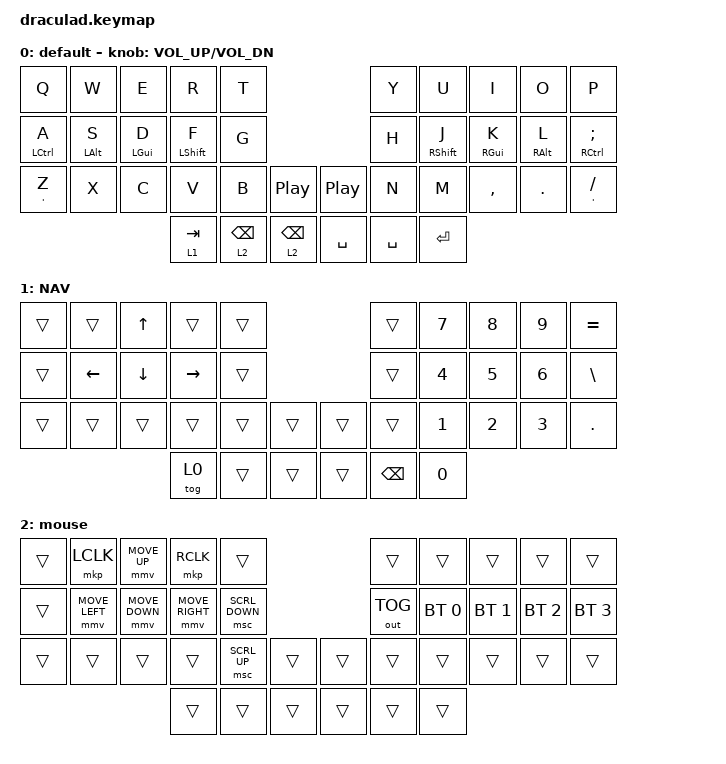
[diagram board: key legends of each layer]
/*
 * Copyright (c) 2020 The ZMK Contributors
 *
 * SPDX-License-Identifier: MIT
 */
/*
#undef ZMK_BEHAVIORS_KEEP_ALL   //ZMK STUDIO

#define ZMK_BEHAVIORS_KEEP_SK   //ZMK Studio
#define ZMK_BEHAVIORS_KEEP_MT   //ZMK Studio
#define ZMK_BEHAVIORS_KEEP_KT   //ZMK Studio
*/

#include <behaviors.dtsi>
#include <dt-bindings/zmk/bt.h>
#include <dt-bindings/zmk/keys.h>
#include <dt-bindings/zmk/outputs.h>
#include <dt-bindings/zmk/pointing.h>
#include <dt-bindings/zmk/pointing.h>
#include <dt-bindings/zmk/pointing.h>

// Layers

#define DEFAULT 0
#define NAV 1
#define MOUSE 2

/ {
    behaviors {
        hm: homerow_mods {
            compatible = "zmk,behavior-hold-tap";
            label = "HOMEROW_MODS";
            #binding-cells = <2>;
            tapping-term-ms = <250>;
            quick-tap-ms = <0>;
            flavor = "tap-preferred";
            bindings = <&kp>, <&kp>;
        };

        hplt: hold_preferred-lt {
            compatible = "zmk,behavior-hold-tap";
            label = "HOLD_PREFERRED_LT";
            #binding-cells = <2>;
            tapping-term-ms = <195>;
            quick-tap-ms = <0>;
            flavor = "hold-preferred";
            bindings = <&mo>, <&kp>;
        };

        hms: homerow_mod_shift {
            compatible = "zmk,behavior-hold-tap";
            label = "HOMEROW_MOD_SHIFT";
            #binding-cells = <2>;
            tapping-term-ms = <170>;
            quick-tap-ms = <0>;
            flavor = "balanced";
            bindings = <&kp>, <&kp>;
        };

        Td_d: Td_d {
            compatible = "zmk,behavior-tap-dance";
            label = "TD_D";
            #binding-cells = <0>;
            bindings = <&kp P>, <&kp LEFT_BRACKET>;

            tapping-term-ms = <300>;
        };

        Td_O: Td_O {
            compatible = "zmk,behavior-tap-dance";
            label = "TD_O";
            #binding-cells = <0>;
            bindings = <&kp O>, <&kp MINUS>;

            tapping-term-ms = <300>;
        };

        Td_i: Td_i {
            compatible = "zmk,behavior-tap-dance";
            label = "TD_I";
            #binding-cells = <0>;
            bindings = <&kp I>, <&i>;

            tapping-term-ms = <300>;
        };

        Td_e: Td_e {
            compatible = "zmk,behavior-tap-dance";
            label = "TD_E";
            #binding-cells = <0>;
            bindings = <&kp E>, <&e>;

            tapping-term-ms = <300>;
        };

        Td_u: Td_u {
            compatible = "zmk,behavior-tap-dance";
            label = "TD_U";
            #binding-cells = <0>;
            bindings = <&kp U>, <&u>;

            tapping-term-ms = <300>;
        };

        Td_y: Td_y {
            compatible = "zmk,behavior-tap-dance";
            label = "TD_Y";
            #binding-cells = <0>;
            bindings = <&kp Y>, <&y>;

            tapping-term-ms = <300>;
        };

        Td_a: Td_a {
            compatible = "zmk,behavior-tap-dance";
            label = "TD_A";
            #binding-cells = <0>;
            bindings = <&hm LEFT_CONTROL A>, <&a>;

            tapping-term-ms = <300>;
        };
    };

    /* KEY POSITIONS
        ╭────────────────────╮ ╭────────────────────╮
        │  0   1   2   3   4 │ │  5   6   7   8   9 │
        │ 10  11  12  13  14 │ │ 15  16  17  18  19 │
        │ 20  21  22  23  24 │ │ 25  26  27  28  29 │
        ╰───────╮         30 │ │ 31       ╭─────────╯
                │ 32  33  34 │ │ 35 36 37 │
                ╰────────────╯ ╰──────────╯
        */

    combos {
        compatible = "zmk,combos";

        combo_esc {
            timeout-ms = <50>;
            key-positions = <0 1>;
            bindings = <&kp ESC>;
        };

        combo_capslock {
            timeout-ms = <50>;
            key-positions = <10 11>;
            bindings = <&kp CAPSLOCK>;
        };

        combo_enter {
            timeout-ms = <50>;
            key-positions = <18 19>;
            bindings = <&kp ENTER>;
        };

        combo_copy {
            timeout-ms = <50>;
            key-positions = <13 23>;
            bindings = <&kp LG(C)>;
        };

        combo_paste {
            timeout-ms = <50>;
            key-positions = <16 26>;
            bindings = <&kp LG(V)>;
        };

        combo_parens_left {
            timeout-ms = <50>;
            key-positions = <3 13>;
            bindings = <&kp LEFT_PARENTHESIS>;
        };

        combo_parens_right {
            timeout-ms = <50>;
            key-positions = <6 16>;
            bindings = <&kp RIGHT_PARENTHESIS>;
        };

        Volume_up {
            bindings = <&kp C_VOLUME_UP>;
            key-positions = <2 1>;
        };

        Volume_Down {
            bindings = <&kp C_VOL_DN>;
            key-positions = <22 21>;
        };

        oo-oo {
            bindings = <&kp EQUAL>;
            key-positions = <20 8 31>;
        };

        pp-pp {
            bindings = <&kp LEFT_BRACKET>;
            key-positions = <20 9>;
        };
    };

    macros {
        a: a {
            compatible = "zmk,behavior-macro";
            #binding-cells = <0>;
            bindings = <&kp SINGLE_QUOTE &kp A>;
            label = "A";
        };

        o: o {
            compatible = "zmk,behavior-macro";
            #binding-cells = <0>;
            bindings = <&kp SINGLE_QUOTE &kp O>;
            label = "O";
        };

        i: i {
            compatible = "zmk,behavior-macro";
            #binding-cells = <0>;
            bindings = <&kp SINGLE_QUOTE &kp I>;
            label = "I";
        };

        e: e {
            compatible = "zmk,behavior-macro";
            #binding-cells = <0>;
            bindings = <&kp SINGLE_QUOTE &kp E>;
            label = "E";
        };

        u: u {
            compatible = "zmk,behavior-macro";
            #binding-cells = <0>;
            bindings = <&kp SINGLE_QUOTE &kp U>;
            label = "U";
        };

        y: y {
            compatible = "zmk,behavior-macro";
            #binding-cells = <0>;
            bindings = <&kp SINGLE_QUOTE &kp Y>;
            label = "Y";
        };
    };

    keymap {
        compatible = "zmk,keymap";

        default {
            /*
                                Q       W       E       R       T       Y       U       I       O       P
                                A       S       D       F       G       H       J       K       L       ;
                                Z       X       C       V       B       N       M       ,       .       /
                                                TAB     TAB     BSPC    SPC     TAB     TAB
                        */
            // QWERTY, if that's how you roll

            bindings = <
&kp Q               &kp W       &kp E       &kp R         &kp T                                                  &kp Y      &kp U         &kp I       &kp O       &kp P
&hm LEFT_CONTROL A  &hm LALT S  &hm LGUI D  &hms LSHFT F  &kp G                                                  &kp H      &hms RSHFT J  &hm RGUI K  &hm RALT L  &hm RCTRL SEMICOLON
&mt SINGLE_QUOTE Z  &kp X       &kp C       &kp V         &kp B            &kp C_PLAY_PAUSE    &kp C_PLAY_PAUSE  &kp N      &kp M         &kp COMMA   &kp DOT     &mt SINGLE_QUOTE SLASH
                                            &lt 1 TAB     &lt 2 BACKSPACE  &lt 2 BACKSPACE     &kp SPACE         &kp SPACE  &kp RETURN
            >;

            sensor-bindings = <&inc_dec_kp C_VOL_UP C_VOL_DN>;
        };

        NAV {
            bindings = <
&trans  &trans          &kp UP_ARROW    &trans           &trans                    &trans         &kp N7        &kp NUMBER_8  &kp NUMBER_9  &kp EQUAL
&trans  &kp LEFT_ARROW  &kp DOWN_ARROW  &kp RIGHT_ARROW  &trans                    &trans         &kp NUMBER_4  &kp NUMBER_5  &kp NUMBER_6  &kp BACKSLASH
&trans  &trans          &trans          &trans           &trans  &trans    &trans  &trans         &kp NUMBER_1  &kp NUMBER_2  &kp NUMBER_3  &kp DOT
                                        &tog 0           &trans  &trans    &trans  &kp BACKSPACE  &kp NUMBER_0
            >;
        };

        mouse {
            bindings = <
&trans  &mkp LCLK       &mmv MOVE_UP    &mkp RCLK        &trans                            &trans        &trans        &trans        &trans        &trans
&trans  &mmv MOVE_LEFT  &mmv MOVE_DOWN  &mmv MOVE_RIGHT  &msc SCRL_DOWN                    &out OUT_TOG  &bt BT_SEL 0  &bt BT_SEL 1  &bt BT_SEL 2  &bt BT_SEL 3
&trans  &trans          &trans          &trans           &msc SCRL_UP    &trans    &trans  &trans        &trans        &trans        &trans        &trans
                                        &trans           &trans          &trans    &trans  &trans        &trans
            >;
        };
    };
};
